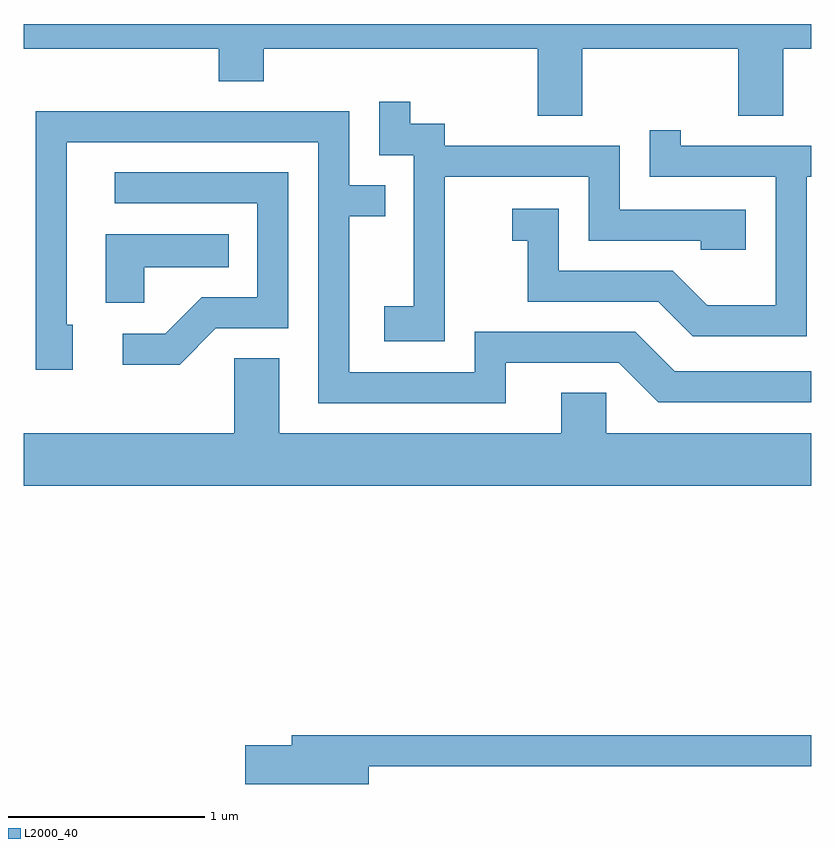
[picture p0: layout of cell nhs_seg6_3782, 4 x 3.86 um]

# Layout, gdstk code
import gdstk
lib = gdstk.Library(unit=1e-6, precision=1e-09)
def P(c, l, *ps):  # polygons
    for p in ps: c.add(gdstk.Polygon(p, *l))
L2000_40 = (2000, 40)

nhs_seg6_3782 = lib.new_cell('nhs_seg6_3782')
P(nhs_seg6_3782, L2000_40, [(302.449,1550.036),(303.241,1550.036),(303.241,1549.696),(303.469,1549.696),(303.469,1550.036),(303.611,1550.036),(303.611,1550.162),(299.611,1550.162),(299.611,1550.036),(300.601,1550.036),(300.601,1549.871),(300.829,1549.871),(300.829,1550.036),(302.221,1550.036),(302.221,1549.696),(302.449,1549.696)],
  [(301.749,1549.386),(302.481,1549.386),(302.481,1549.061),(303.051,1549.061),(303.051,1549.016),(303.279,1549.016),(303.279,1549.219),(302.639,1549.219),(302.639,1549.544),(301.749,1549.544),(301.749,1549.654),(301.574,1549.654),(301.574,1549.768),(301.416,1549.768),(301.416,1549.496),(301.591,1549.496),(301.591,1548.729),(301.441,1548.729),(301.441,1548.551),(301.749,1548.551)],
  [(302.059,1548.441),(302.634,1548.441),(302.834,1548.241),(303.611,1548.241),(303.611,1548.399),(302.917,1548.399),(302.717,1548.599),(301.901,1548.599),(301.901,1548.394),(301.264,1548.394),(301.264,1549.186),(301.448,1549.186),(301.448,1549.344),(301.264,1549.344),(301.264,1549.719),(299.671,1549.719),(299.671,1548.406),(299.859,1548.406),(299.859,1548.634),(299.829,1548.634),(299.829,1549.561),(301.106,1549.561),(301.106,1548.236),(302.059,1548.236)],
  [(303.589,1549.386),(303.611,1549.386),(303.611,1549.544),(302.949,1549.544),(302.949,1549.623),(302.791,1549.623),(302.791,1549.386),(303.431,1549.386),(303.431,1548.734),(303.082,1548.734),(302.907,1548.909),(302.329,1548.909),(302.329,1549.224),(302.093,1549.224),(302.093,1549.061),(302.171,1549.061),(302.171,1548.751),(302.834,1548.751),(303.009,1548.576),(303.589,1548.576)],
  [(300.587,1548.616),(300.954,1548.616),(300.954,1549.409),(300.073,1549.409),(300.073,1549.251),(300.796,1549.251),(300.796,1548.774),(300.514,1548.774),(300.329,1548.589),(300.113,1548.589),(300.113,1548.431),(300.402,1548.431)],
  [(300.224,1548.926),(300.653,1548.926),(300.653,1549.094),(300.026,1549.094),(300.026,1548.746),(300.224,1548.746)],
  [(303.611,1548.084),(302.569,1548.084),(302.569,1548.289),(302.341,1548.289),(302.341,1548.084),(300.909,1548.084),(300.909,1548.464),(300.681,1548.464),(300.681,1548.084),(299.611,1548.084),(299.611,1547.816),(303.611,1547.816)],
  [(301.364,1546.391),(303.611,1546.391),(303.611,1546.549),(300.971,1546.549),(300.971,1546.499),(300.736,1546.499),(300.736,1546.301),(301.364,1546.301)])

lib.write_gds('nhs_seg6_3782.gds')
